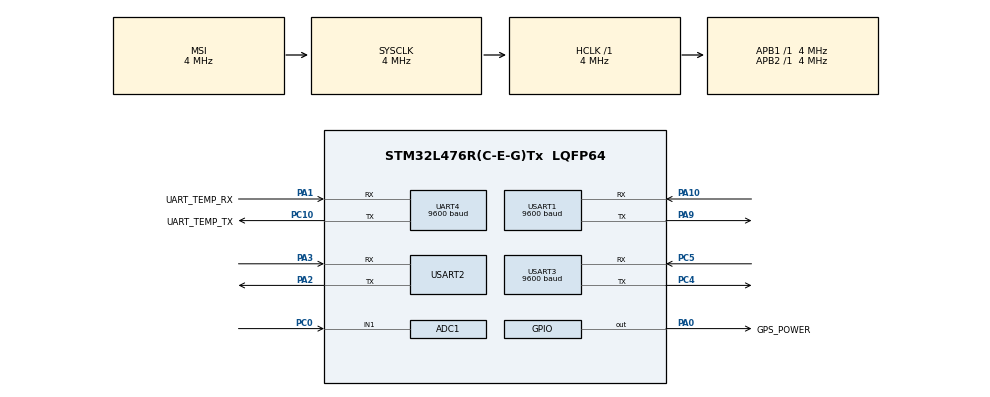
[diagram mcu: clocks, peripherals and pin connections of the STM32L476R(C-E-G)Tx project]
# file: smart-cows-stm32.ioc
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ADC1.Channel-3\#ChannelRegularConversion=ADC_CHANNEL_1
ADC1.NbrOfConversion=1
ADC1.NbrOfConversionFlag=1
ADC1.OffsetNumber-3\#ChannelRegularConversion=ADC_OFFSET_NONE
ADC1.OversamplingMode=ENABLE
ADC1.Rank-3\#ChannelRegularConversion=1
ADC1.Ratio=ADC_OVERSAMPLING_RATIO_256
ADC1.RightBitShift=ADC_RIGHTBITSHIFT_8
ADC1.SamplingTime-3\#ChannelRegularConversion=ADC_SAMPLETIME_640CYCLES_5
ADC1.master=1
Mcu.Family=STM32L4
Mcu.Name=STM32L476R(C-E-G)Tx
Mcu.Package=LQFP64
NVIC.PriorityGroup=NVIC_PRIORITYGROUP_4
NVIC.RTC_WKUP_IRQn=true\:0\:0\:false\:false\:true\:true\:true\:true
NVIC.USART1_IRQn=true\:0\:0\:false\:false\:true\:true\:true\:true
NVIC.USART2_IRQn=true\:0\:0\:false\:false\:true\:true\:true\:true
NVIC.USART3_IRQn=true\:0\:0\:false\:false\:true\:true\:true\:true
PA0.GPIO_Label=GPS_POWER
PA0.Signal=GPIO_Output
PA1.GPIO_Label=UART_TEMP_RX
PA1.GPIO_ModeDefaultPP=GPIO_MODE_AF_OD
PA1.Mode=Asynchronous
PA1.Signal=UART4_RX
PA10.Mode=Asynchronous
PA10.Signal=USART1_RX
PA13\ (JTMS-SWDIO).Mode=Serial_Wire
PA13\ (JTMS-SWDIO).Signal=SYS_JTMS-SWDIO
PA14\ (JTCK-SWCLK).Mode=Serial_Wire
PA14\ (JTCK-SWCLK).Signal=SYS_JTCK-SWCLK
PA2.Mode=Asynchronous
PA2.Signal=USART2_TX
PA3.Mode=Asynchronous
PA3.Signal=USART2_RX
PA9.Mode=Asynchronous
PA9.Signal=USART1_TX
PC0.Signal=ADCx_IN1
PC10.GPIO_Label=UART_TEMP_TX
PC10.Mode=Asynchronous
PC10.Signal=UART4_TX
PC14-OSC32_IN\ (PC14).Mode=LSE-External-Oscillator
PC14-OSC32_IN\ (PC14).Signal=RCC_OSC32_IN
PC15-OSC32_OUT\ (PC15).Mode=LSE-External-Oscillator
PC15-OSC32_OUT\ (PC15).Signal=RCC_OSC32_OUT
PC4.Mode=Asynchronous
PC4.Signal=USART3_TX
PC5.Mode=Asynchronous
PC5.Signal=USART3_RX
ProjectManager.HeapSize=0x200
ProjectManager.StackSize=0x400
ProjectManager.TargetToolchain=STM32CubeIDE
RCC.ADCFreq_Value=32000000
RCC.AHBFreq_Value=4000000
RCC.APB1Freq_Value=4000000
RCC.APB1TimFreq_Value=4000000
RCC.APB2Freq_Value=4000000
RCC.APB2TimFreq_Value=4000000
RCC.CortexFreq_Value=4000000
RCC.HCLKFreq_Value=4000000
RCC.HSE_VALUE=8000000
RCC.HSI_VALUE=16000000
RCC.MSI_VALUE=4000000
RCC.PLLSAI1N=16
RCC.RTCClockSelection=RCC_RTCCLKSOURCE_LSE
RCC.SYSCLKFreq_VALUE=4000000
RCC.USBFreq_Value=32000000
RCC.VCOOutputFreq_Value=32000000
RTC.WakeUpClock-WakeUp=RTC_WAKEUPCLOCK_CK_SPRE_16BITS
RTC.WakeUpCounter-WakeUp=0
SH.ADCx_IN1.0=ADC1_IN1,IN1-Single-Ended
TIM1.Prescaler=7
UART4.BaudRate=9600
UART4.OverrunDisableParam=UART_ADVFEATURE_OVERRUN_DISABLE
USART1.BaudRate=9600
USART1.VirtualMode-Asynchronous=VM_ASYNC
USART2.VirtualMode-Asynchronous=VM_ASYNC
USART3.BaudRate=9600
USART3.OverrunDisableParam=ADVFEATURE_OVERRUN_ENABLE
USART3.VirtualMode-Asynchronous=VM_ASYNC
VP_RTC_VS_RTC_Activate.Mode=RTC_Enabled
VP_RTC_VS_RTC_WakeUp_intern.Mode=WakeUp
VP_TIM1_VS_ClockSourceINT.Mode=Internal
board=custom

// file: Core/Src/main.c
/* USER CODE BEGIN Header */
/**
  ******************************************************************************
  * @file           : main.c
  * @brief          : Main program body
  ******************************************************************************
  * @attention
  *
  * Copyright (c) 2022 STMicroelectronics.
  * All rights reserved.
  *
  * This software is licensed under terms that can be found in the LICENSE file
  * in the root directory of this software component.
  * If no LICENSE file comes with this software, it is provided AS-IS.
  *
  ******************************************************************************
  */
/* USER CODE END Header */
#include "main.h"
#include "adc.h"
#include "rtc.h"
#include "tim.h"
#include "usart.h"
#include "gpio.h"

/* USER CODE BEGIN Includes */

#include <string.h>
#include <stdio.h>
#include <stdbool.h>
#include <battery_3_7.h>
#include <GPS.h>
#include <ds18b20.h>

/* USER CODE END Includes */

/* USER CODE BEGIN PM */

#define LINE_MAX_LENGTH	60
#define JOIN_ALREADY "+JOIN: Joined already"
#define NETWORK_JOINED "+JOIN: Network joined"
#define JOIN_DONE "+JOIN: Done"
#define MSG_DONE "+MSG: Done"

// DS18B20 komendy
#define READ_ROM 0x33

#define TIME_SLEEP 60 // [s]
#define MAX_ATTEMPTS_CONNECTION 5

/* USER CODE END PM */

/* USER CODE BEGIN PV */

bool connectedToNetwork = false;
bool networkStatusReceived = false;
bool configStatusReceived = false;
bool messageDoneStatusReceived = false;

uint8_t rxData;
char line_buffer[LINE_MAX_LENGTH + 1];
uint32_t line_length;

int connectionRequestCounter = 0;

/* USER CODE END PV */

void SystemClock_Config(void);
/* USER CODE BEGIN PFP */

void HAL_UART_RxCpltCallback(UART_HandleTypeDef *huart)
{
	HAL_UART_Transmit(&huart2, &rxData, 1, HAL_MAX_DELAY);

	if(huart == &huart1)
	{
		if (rxData == '\r' || rxData == '\n') {
			if(line_length > 0) {
				line_buffer[line_length] = '\0';
				if(strcmp(line_buffer, JOIN_ALREADY) == 0) {
					connectedToNetwork = true;
					networkStatusReceived = true;
				} else if(strcmp(line_buffer, NETWORK_JOINED) == 0) {
					connectedToNetwork = true;
				} else if (strcmp(line_buffer, JOIN_DONE) == 0) {
					networkStatusReceived = true;
				} else if (strcmp(line_buffer, MSG_DONE) == 0) {
					messageDoneStatusReceived = true;
				} else {
					configStatusReceived = true;
				}
				line_length = 0;
			}
		}
		else {
			if(line_length >= LINE_MAX_LENGTH) {
				line_length = 0;
			}
			line_buffer[line_length++] = rxData;
		}
	}

	if (huart == &huart3)
	{
		GPS_UART_Callback(&rxData);
	}

	HAL_UART_Receive_IT(&huart1, &rxData, 1);
}

/* USER CODE END PFP */

/* USER CODE BEGIN 0 */

__weak void HAL_Delay(uint32_t Delay)
{
	uint32_t tickstart = HAL_GetTick();
	uint32_t wait = Delay;

	if(wait < HAL_MAX_DELAY)
	{
		wait += (uint32_t)uwTickFreq;
	}

	while((HAL_GetTick() - tickstart) < wait)
	{
		HAL_PWR_EnterSLEEPMode(PWR_LOWPOWERREGULATOR_ON, PWR_SLEEPENTRY_WFI);
	}
}

int __io_putchar(int ch)
{
	if (ch == '\n'){
		uint8_t ch2 = '\r';
		HAL_UART_Transmit(&huart1, &ch2, 1, HAL_MAX_DELAY);	// 1 - lora / 2 - pc
	}

	HAL_UART_Transmit(&huart1, (uint8_t*)&ch, 1, HAL_MAX_DELAY); // 1 - lora / 2 - pc
	return 1;
}

void sendConfigMessageToLora(const char* msg)
{
	configStatusReceived = false;
	printf(msg);
	while(!configStatusReceived){
	}
	configStatusReceived = false;
}

void sendJoinRequestToLora()
{
	printf("AT+JOIN\r\n");
	while(!networkStatusReceived){
	}
	networkStatusReceived = false;
}

void sendToPC(char* str){
	HAL_UART_Transmit(&huart2, (uint8_t *)str, strlen (str), HAL_MAX_DELAY);
}

void goToDeepSleep() {
	  sendConfigMessageToLora("AT+LOWPOWER=AUTOON\r\n");
	  HAL_Delay(10);
	  HAL_RTCEx_SetWakeUpTimer_IT(&hrtc, TIME_SLEEP, RTC_WAKEUPCLOCK_CK_SPRE_16BITS);
	  sendToPC("STANDBY MODE is ON\n");
	  HAL_PWR_EnterSTANDBYMode();
}

void connectToLora()
{
	connectionRequestCounter++;
	sendJoinRequestToLora();

	while(connectedToNetwork == 0 && connectionRequestCounter < MAX_ATTEMPTS_CONNECTION){
		sendConfigMessageToLora("AT+ID=DevAddr\r\n");
//		sendConfigMessageToLora("AT+ID=DevEui\r\n");
//		sendConfigMessageToLora("AT+ID=AppEui\r\n");
//		sendConfigMessageToLora("AT+LW=VER\r\n");

		sendConfigMessageToLora("AT+DR=EU868\r\n");
		sendConfigMessageToLora("AT+CH=NUM,0-2\r\n");
		sendConfigMessageToLora("AT+MODE=LWOTAA\r\n");
		sendConfigMessageToLora("AT+KEY=APPKEY,\"F4D4B405FF7AB3C3DF60C78F399B1E3C\"\r\n");
		sendJoinRequestToLora();

		connectionRequestCounter++;
	}

	if(connectionRequestCounter == MAX_ATTEMPTS_CONNECTION) {
		goToDeepSleep();
	}
}

/* USER CODE END 0 */

int main(void)
{

  /* MCU Configuration--------------------------------------------------------*/

  /* Reset of all peripherals, Initializes the Flash interface and the Systick. */
  HAL_Init();

  /* Configure the system clock */
  SystemClock_Config();

  /* Initialize all configured peripherals */
  MX_GPIO_Init();
  MX_USART2_UART_Init();
  MX_USART1_UART_Init();
  MX_ADC1_Init();
  MX_RTC_Init();
  MX_TIM1_Init();
  MX_USART3_UART_Init();
  MX_UART4_Init();
  /* USER CODE BEGIN 2 */

  sendToPC("\nWakeup from the STANDBY MODE\r\n");

  /* Wyłączenie trybu LOW-POWER (lora) i połączenie się z siecią */
  if(HAL_RTCEx_BKUPRead(&hrtc, RTC_BKP_DR2) == 0) {
	  HAL_Delay(1200);	// Przy pierwszym włączeniu należy poczekać, aż uruchomi się moduł LoRa
	  HAL_RTCEx_BKUPWrite(&hrtc, RTC_BKP_DR2, 1);
  }
  HAL_UART_Receive_IT(&huart1, &rxData, 1);
  sendConfigMessageToLora("ÿÿÿÿAT+LOWPOWER=AUTOOFF\r\n");
  connectToLora();

  sendToPC("\nStart GPS\n");

  /* Właczenie modułu GPS */
  HAL_GPIO_WritePin(GPS_POWER_GPIO_Port, GPS_POWER_Pin, GPIO_PIN_SET);

  GPS_Init(&rxData);
  GPS_Init(&rxData);

  /* USER CODE END 2 */

  /* Infinite loop */
  /* USER CODE BEGIN WHILE */
  while (1)
  {

	  /** Czekanie na lokalizacje */
	  if(gpsDataReady)
	  {
		  Position currentPosition;
		  GPS_getCurrentPosition(&currentPosition);

		  /** Wyłączenie modułu GPS */
		  HAL_GPIO_WritePin(GPS_POWER_GPIO_Port, GPS_POWER_Pin, GPIO_PIN_RESET);
		  sendToPC("\nKoniec GPS\n");

		  /* Pomiary i wysyłanie danych do TTN */
		  if (ds18b20_init() != HAL_OK)
		  {
			   Error_Handler();
		  }
		  uint8_t ds1[DS18B20_ROM_CODE_SIZE];
		  while (ds18b20_read_address(ds1) != HAL_OK)
		  {
			 // Error_Handler();
		  }
		  ds18b20_start_measure(NULL);
		  float temperature = ds18b20_get_temp(NULL) - 1.5f;
		  char temp[50];
		  sprintf(temp, "T1 = %.1f*C\r\n", temperature);
		  sendToPC(temp);

		  battery_init(&hadc1, HAL_MAX_DELAY);
	//	  float voltage = battery_getBatteryVolts();
		  int batteryLevel = battery_getBatteryChargeLevel();

		  printf("AT+MSG=%d_%f_%f_%f\r\n", batteryLevel, temperature, currentPosition.longitude, currentPosition.latitude);
		  HAL_Delay(1500); 	// czas na wysłanie danych

		  /* Uśpienie urządzenia wraz z podłączonymi czujnikami */
		  goToDeepSleep();
	  }

    /* USER CODE END WHILE */

  }
}

void SystemClock_Config(void)
{
  RCC_OscInitTypeDef RCC_OscInitStruct = {0};
  RCC_ClkInitTypeDef RCC_ClkInitStruct = {0};

  /** Configure the main internal regulator output voltage
  */
  if (HAL_PWREx_ControlVoltageScaling(PWR_REGULATOR_VOLTAGE_SCALE1) != HAL_OK)
  {
    Error_Handler();
  }

  /** Configure LSE Drive Capability
  */
  HAL_PWR_EnableBkUpAccess();
  __HAL_RCC_LSEDRIVE_CONFIG(RCC_LSEDRIVE_LOW);

  /** Initializes the RCC Oscillators according to the specified parameters
  * in the RCC_OscInitTypeDef structure.
  */
  RCC_OscInitStruct.OscillatorType = RCC_OSCILLATORTYPE_LSE|RCC_OSCILLATORTYPE_MSI;
  RCC_OscInitStruct.LSEState = RCC_LSE_ON;
  RCC_OscInitStruct.MSIState = RCC_MSI_ON;
  RCC_OscInitStruct.MSICalibrationValue = 0;
  RCC_OscInitStruct.MSIClockRange = RCC_MSIRANGE_6;
  RCC_OscInitStruct.PLL.PLLState = RCC_PLL_NONE;
  if (HAL_RCC_OscConfig(&RCC_OscInitStruct) != HAL_OK)
  {
    Error_Handler();
  }

  /** Initializes the CPU, AHB and APB buses clocks
  */
  RCC_ClkInitStruct.ClockType = RCC_CLOCKTYPE_HCLK|RCC_CLOCKTYPE_SYSCLK
                              |RCC_CLOCKTYPE_PCLK1|RCC_CLOCKTYPE_PCLK2;
  RCC_ClkInitStruct.SYSCLKSource = RCC_SYSCLKSOURCE_MSI;
  RCC_ClkInitStruct.AHBCLKDivider = RCC_SYSCLK_DIV1;
  RCC_ClkInitStruct.APB1CLKDivider = RCC_HCLK_DIV1;
  RCC_ClkInitStruct.APB2CLKDivider = RCC_HCLK_DIV1;

  if (HAL_RCC_ClockConfig(&RCC_ClkInitStruct, FLASH_LATENCY_0) != HAL_OK)
  {
    Error_Handler();
  }

  /** Enable MSI Auto calibration
  */
  HAL_RCCEx_EnableMSIPLLMode();
}

void Error_Handler(void)
{
  __disable_irq();
  while (1)
  {
  }
}
